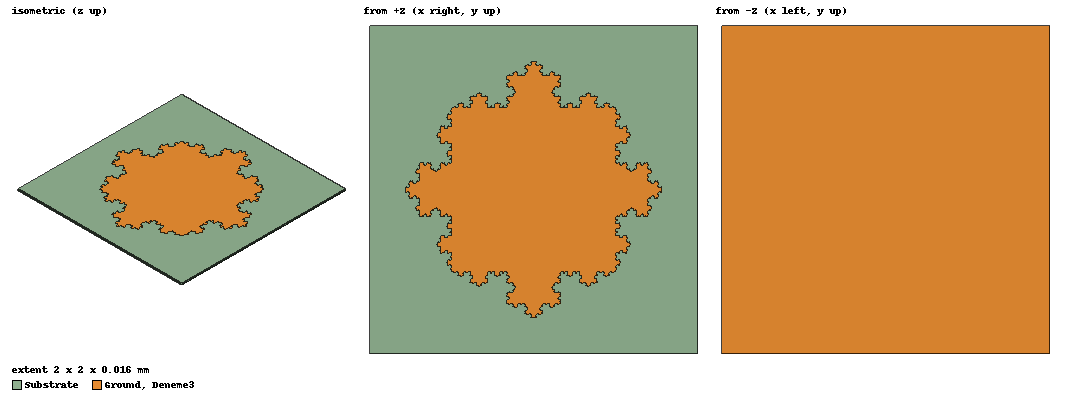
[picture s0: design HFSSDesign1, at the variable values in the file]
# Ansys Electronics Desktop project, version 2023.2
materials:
  vacuum: permittivity=1
  air: permittivity=1.0006 permeability=1.0000004
  FR4_epoxy: permittivity=4.4 dielectric_loss_tangent=0.02

design HFSSDesign1 (HFSS, HFSS Terminal Network, model units mm)
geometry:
  Deneme = polyline(z=0mm, xy in mm: (0, 0) (0.012345679, 0) (0.018518519, 0.010691672) (0.024691358, 0) (0.037037037, 0) (0.043209877, 0.010691672) (0.037037037, 0.021383343) (0.049382716, 0.021383343) (0.055555556, 0.032075015) (0.061728395, 0.021383343) (0.074074074, 0.021383343) (0.067901235, 0.010691672) (0.074074074, 0) (0.086419753, 0) (0.092592593, 0.010691672) (0.098765432, 0) (0.11111111, 0) (0.11728395, 0.010691672) (0.11111111, 0.021383343) (0.12345679, 0.021383343) (0.12962963, 0.032075015) (0.12345679, 0.042766687) (0.11111111, 0.042766687) (0.11728395, 0.053458358) (0.11111111, 0.06415003) (0.12345679, 0.06415003) (0.12962963, 0.074841702) (0.13580247, 0.06415003) (0.14814815, 0.06415003) (0.15432099, 0.074841702) (0.14814815, 0.085533373) (0.16049383, 0.085533373) (0.16666667, 0.096225045) (0.17283951, 0.085533373) (0.18518519, 0.085533373) (0.17901235, 0.074841702) (0.18518519, 0.06415003) (0.19753086, 0.06415003) (0.2037037, 0.074841702) (0.20987654, 0.06415003) (0.22222222, 0.06415003) (0.21604938, 0.053458358) (0.22222222, 0.042766687) (0.20987654, 0.042766687) (0.2037037, 0.032075015) (0.20987654, 0.021383343) (0.22222222, 0.021383343) (0.21604938, 0.010691672) (0.22222222, 0) (0.2345679, 0) (0.24074074, 0.010691672) (0.24691358, 0) (0.25925926, 0) (0.2654321, 0.010691672) (0.25925926, 0.021383343) (0.27160494, 0.021383343) (0.27777778, 0.032075015) (0.28395062, 0.021383343) (0.2962963, 0.021383343) (0.29012346, 0.010691672) (0.2962963, 0) (0.30864198, 0) (0.31481481, 0.010691672) (0.32098765, 0) (0.33333333, 0) (0.33950617, 0.010691672) (0.33333333, 0.021383343) (0.34567901, 0.021383343) (0.35185185, 0.032075015) (0.34567901, 0.042766687) (0.33333333, 0.042766687) (0.33950617, 0.053458358) (0.33333333, 0.06415003) (0.34567901, 0.06415003) (0.35185185, 0.074841702) (0.35802469, 0.06415003) (0.37037037, 0.06415003) (0.37654321, 0.074841702) (0.37037037, 0.085533373) (0.38271605, 0.085533373) (0.38888889, 0.096225045) (0.38271605, 0.10691672) (0.37037037, 0.10691672) (0.37654321, 0.11760839) (0.37037037, 0.12830006) (0.35802469, 0.12830006) (0.35185185, 0.11760839) (0.34567901, 0.12830006) (0.33333333, 0.12830006) (0.33950617, 0.13899173) (0.33333333, 0.1496834) (0.34567901, 0.1496834) (0.35185185, 0.16037507) (0.34567901, 0.17106675) (0.33333333, 0.17106675) (0.33950617, 0.18175842) (0.33333333, 0.19245009) (0.34567901, 0.19245009) (0.35185185, 0.20314176) (0.35802469, 0.19245009) (0.37037037, 0.19245009) (0.37654321, 0.20314176) (0.37037037, 0.21383343) (0.38271605, 0.21383343) (0.38888889, 0.2245251) (0.39506173, 0.21383343) (0.40740741, 0.21383343) (0.40123457, 0.20314176) (0.40740741, 0.19245009) (0.41975309, 0.19245009) (0.42592593, 0.20314176) (0.43209877, 0.19245009) (0.44444444, 0.19245009) (0.45061728, 0.20314176) (0.44444444, 0.21383343) (0.45679012, 0.21383343) (0.46296296, 0.2245251) (0.45679012, 0.23521678) (0.44444444, 0.23521678) (0.45061728, 0.24590845) (0.44444444, 0.25660012) (0.45679012, 0.25660012) (0.46296296, 0.26729179) (0.4691358, 0.25660012) (0.48148148, 0.25660012) (0.48765432, 0.26729179) (0.48148148, 0.27798346) (0.49382716, 0.27798346) (0.5, 0.28867513) (0.50617284, 0.27798346) (0.51851852, 0.27798346) (0.51234568, 0.26729179) (0.51851852, 0.25660012) (0.5308642, 0.25660012) (0.53703704, 0.26729179) (0.54320988, 0.25660012) (0.55555556, 0.25660012) (0.54938272, 0.24590845) (0.55555556, 0.23521678) (0.54320988, 0.23521678) (0.53703704, 0.2245251) (0.54320988, 0.21383343) (0.55555556, 0.21383343) (0.54938272, 0.20314176) (0.55555556, 0.19245009) (0.56790123, 0.19245009) (0.57407407, 0.20314176) (0.58024691, 0.19245009) (0.59259259, 0.19245009) (0.59876543, 0.20314176) (0.59259259, 0.21383343) (0.60493827, 0.21383343) (0.61111111, 0.2245251) (0.61728395, 0.21383343) (0.62962963, 0.21383343) (0.62345679, 0.20314176) (0.62962963, 0.19245009) (0.64197531, 0.19245009) (0.64814815, 0.20314176) (0.65432099, 0.19245009) (0.66666667, 0.19245009) (0.66049383, 0.18175842) (0.66666667, 0.17106675) (0.65432099, 0.17106675) (0.64814815, 0.16037507) (0.65432099, 0.1496834) (0.66666667, 0.1496834) (0.66049383, 0.13899173) (0.66666667, 0.12830006) (0.65432099, 0.12830006) (0.64814815, 0.11760839) (0.64197531, 0.12830006) (0.62962963, 0.12830006) (0.62345679, 0.11760839) (0.62962963, 0.10691672) (0.61728395, 0.10691672) (0.61111111, 0.096225045) (0.61728395, 0.085533373) (0.62962963, 0.085533373) (0.62345679, 0.074841702) (0.62962963, 0.06415003) (0.64197531, 0.06415003) (0.64814815, 0.074841702) (0.65432099, 0.06415003) (0.66666667, 0.06415003) (0.66049383, 0.053458358) (0.66666667, 0.042766687) (0.65432099, 0.042766687) (0.64814815, 0.032075015) (0.65432099, 0.021383343) (0.66666667, 0.021383343) (0.66049383, 0.010691672) (0.66666667, 0) (0.67901235, 0) (0.68518519, 0.010691672) (0.69135802, 0) (0.7037037, 0) (0.70987654, 0.010691672) (0.7037037, 0.021383343) (0.71604938, 0.021383343) (0.72222222, 0.032075015) (0.72839506, 0.021383343) (0.74074074, 0.021383343) (0.7345679, 0.010691672) (0.74074074, 0) (0.75308642, 0) (0.75925926, 0.010691672) (0.7654321, 0) (0.77777778, 0) (0.78395062, 0.010691672) (0.77777778, 0.021383343) (0.79012346, 0.021383343) (0.7962963, 0.032075015) (0.79012346, 0.042766687) (0.77777778, 0.042766687) (0.78395062, 0.053458358) (0.77777778, 0.06415003) (0.79012346, 0.06415003) (0.7962963, 0.074841702) (0.80246914, 0.06415003) (0.81481481, 0.06415003) (0.82098765, 0.074841702) (0.81481481, 0.085533373) (0.82716049, 0.085533373) (0.83333333, 0.096225045) (0.83950617, 0.085533373) (0.85185185, 0.085533373) (0.84567901, 0.074841702) (0.85185185, 0.06415003) (0.86419753, 0.06415003) (0.87037037, 0.074841702) (0.87654321, 0.06415003) (0.88888889, 0.06415003) (0.88271605, 0.053458358) (0.88888889, 0.042766687) (0.87654321, 0.042766687) (0.87037037, 0.032075015) (0.87654321, 0.021383343) (0.88888889, 0.021383343) (0.88271605, 0.010691672) (0.88888889, 0) (0.90123457, 0) (0.90740741, 0.010691672) (0.91358025, 0) (0.92592593, 0) (0.93209877, 0.010691672) (0.92592593, 0.021383343) (0.9382716, 0.021383343) (0.94444444, 0.032075015) (0.95061728, 0.021383343) (0.96296296, 0.021383343) (0.95679012, 0.010691672) (0.96296296, 0) (0.97530864, 0) (0.98148148, 0.010691672) (0.98765432, 0) (1, 0))
  Deneme.move(-0.5mm, 0.5mm, 0mm)
  Deneme1 = polyline(z=0mm, xy in mm: (0, 0) (0.012345679, 0) (0.018518519, 0.010691672) (0.024691358, 0) (0.037037037, 0) (0.043209877, 0.010691672) (0.037037037, 0.021383343) (0.049382716, 0.021383343) (0.055555556, 0.032075015) (0.061728395, 0.021383343) (0.074074074, 0.021383343) (0.067901235, 0.010691672) (0.074074074, 0) (0.086419753, 0) (0.092592593, 0.010691672) (0.098765432, 0) (0.11111111, 0) (0.11728395, 0.010691672) (0.11111111, 0.021383343) (0.12345679, 0.021383343) (0.12962963, 0.032075015) (0.12345679, 0.042766687) (0.11111111, 0.042766687) (0.11728395, 0.053458358) (0.11111111, 0.06415003) (0.12345679, 0.06415003) (0.12962963, 0.074841702) (0.13580247, 0.06415003) (0.14814815, 0.06415003) (0.15432099, 0.074841702) (0.14814815, 0.085533373) (0.16049383, 0.085533373) (0.16666667, 0.096225045) (0.17283951, 0.085533373) (0.18518519, 0.085533373) (0.17901235, 0.074841702) (0.18518519, 0.06415003) (0.19753086, 0.06415003) (0.2037037, 0.074841702) (0.20987654, 0.06415003) (0.22222222, 0.06415003) (0.21604938, 0.053458358) (0.22222222, 0.042766687) (0.20987654, 0.042766687) (0.2037037, 0.032075015) (0.20987654, 0.021383343) (0.22222222, 0.021383343) (0.21604938, 0.010691672) (0.22222222, 0) (0.2345679, 0) (0.24074074, 0.010691672) (0.24691358, 0) (0.25925926, 0) (0.2654321, 0.010691672) (0.25925926, 0.021383343) (0.27160494, 0.021383343) (0.27777778, 0.032075015) (0.28395062, 0.021383343) (0.2962963, 0.021383343) (0.29012346, 0.010691672) (0.2962963, 0) (0.30864198, 0) (0.31481481, 0.010691672) (0.32098765, 0) (0.33333333, 0) (0.33950617, 0.010691672) (0.33333333, 0.021383343) (0.34567901, 0.021383343) (0.35185185, 0.032075015) (0.34567901, 0.042766687) (0.33333333, 0.042766687) (0.33950617, 0.053458358) (0.33333333, 0.06415003) (0.34567901, 0.06415003) (0.35185185, 0.074841702) (0.35802469, 0.06415003) (0.37037037, 0.06415003) (0.37654321, 0.074841702) (0.37037037, 0.085533373) (0.38271605, 0.085533373) (0.38888889, 0.096225045) (0.38271605, 0.10691672) (0.37037037, 0.10691672) (0.37654321, 0.11760839) (0.37037037, 0.12830006) (0.35802469, 0.12830006) (0.35185185, 0.11760839) (0.34567901, 0.12830006) (0.33333333, 0.12830006) (0.33950617, 0.13899173) (0.33333333, 0.1496834) (0.34567901, 0.1496834) (0.35185185, 0.16037507) (0.34567901, 0.17106675) (0.33333333, 0.17106675) (0.33950617, 0.18175842) (0.33333333, 0.19245009) (0.34567901, 0.19245009) (0.35185185, 0.20314176) (0.35802469, 0.19245009) (0.37037037, 0.19245009) (0.37654321, 0.20314176) (0.37037037, 0.21383343) (0.38271605, 0.21383343) (0.38888889, 0.2245251) (0.39506173, 0.21383343) (0.40740741, 0.21383343) (0.40123457, 0.20314176) (0.40740741, 0.19245009) (0.41975309, 0.19245009) (0.42592593, 0.20314176) (0.43209877, 0.19245009) (0.44444444, 0.19245009) (0.45061728, 0.20314176) (0.44444444, 0.21383343) (0.45679012, 0.21383343) (0.46296296, 0.2245251) (0.45679012, 0.23521678) (0.44444444, 0.23521678) (0.45061728, 0.24590845) (0.44444444, 0.25660012) (0.45679012, 0.25660012) (0.46296296, 0.26729179) (0.4691358, 0.25660012) (0.48148148, 0.25660012) (0.48765432, 0.26729179) (0.48148148, 0.27798346) (0.49382716, 0.27798346) (0.5, 0.28867513) (0.50617284, 0.27798346) (0.51851852, 0.27798346) (0.51234568, 0.26729179) (0.51851852, 0.25660012) (0.5308642, 0.25660012) (0.53703704, 0.26729179) (0.54320988, 0.25660012) (0.55555556, 0.25660012) (0.54938272, 0.24590845) (0.55555556, 0.23521678) (0.54320988, 0.23521678) (0.53703704, 0.2245251) (0.54320988, 0.21383343) (0.55555556, 0.21383343) (0.54938272, 0.20314176) (0.55555556, 0.19245009) (0.56790123, 0.19245009) (0.57407407, 0.20314176) (0.58024691, 0.19245009) (0.59259259, 0.19245009) (0.59876543, 0.20314176) (0.59259259, 0.21383343) (0.60493827, 0.21383343) (0.61111111, 0.2245251) (0.61728395, 0.21383343) (0.62962963, 0.21383343) (0.62345679, 0.20314176) (0.62962963, 0.19245009) (0.64197531, 0.19245009) (0.64814815, 0.20314176) (0.65432099, 0.19245009) (0.66666667, 0.19245009) (0.66049383, 0.18175842) (0.66666667, 0.17106675) (0.65432099, 0.17106675) (0.64814815, 0.16037507) (0.65432099, 0.1496834) (0.66666667, 0.1496834) (0.66049383, 0.13899173) (0.66666667, 0.12830006) (0.65432099, 0.12830006) (0.64814815, 0.11760839) (0.64197531, 0.12830006) (0.62962963, 0.12830006) (0.62345679, 0.11760839) (0.62962963, 0.10691672) (0.61728395, 0.10691672) (0.61111111, 0.096225045) (0.61728395, 0.085533373) (0.62962963, 0.085533373) (0.62345679, 0.074841702) (0.62962963, 0.06415003) (0.64197531, 0.06415003) (0.64814815, 0.074841702) (0.65432099, 0.06415003) (0.66666667, 0.06415003) (0.66049383, 0.053458358) (0.66666667, 0.042766687) (0.65432099, 0.042766687) (0.64814815, 0.032075015) (0.65432099, 0.021383343) (0.66666667, 0.021383343) (0.66049383, 0.010691672) (0.66666667, 0) (0.67901235, 0) (0.68518519, 0.010691672) (0.69135802, 0) (0.7037037, 0) (0.70987654, 0.010691672) (0.7037037, 0.021383343) (0.71604938, 0.021383343) (0.72222222, 0.032075015) (0.72839506, 0.021383343) (0.74074074, 0.021383343) (0.7345679, 0.010691672) (0.74074074, 0) (0.75308642, 0) (0.75925926, 0.010691672) (0.7654321, 0) (0.77777778, 0) (0.78395062, 0.010691672) (0.77777778, 0.021383343) (0.79012346, 0.021383343) (0.7962963, 0.032075015) (0.79012346, 0.042766687) (0.77777778, 0.042766687) (0.78395062, 0.053458358) (0.77777778, 0.06415003) (0.79012346, 0.06415003) (0.7962963, 0.074841702) (0.80246914, 0.06415003) (0.81481481, 0.06415003) (0.82098765, 0.074841702) (0.81481481, 0.085533373) (0.82716049, 0.085533373) (0.83333333, 0.096225045) (0.83950617, 0.085533373) (0.85185185, 0.085533373) (0.84567901, 0.074841702) (0.85185185, 0.06415003) (0.86419753, 0.06415003) (0.87037037, 0.074841702) (0.87654321, 0.06415003) (0.88888889, 0.06415003) (0.88271605, 0.053458358) (0.88888889, 0.042766687) (0.87654321, 0.042766687) (0.87037037, 0.032075015) (0.87654321, 0.021383343) (0.88888889, 0.021383343) (0.88271605, 0.010691672) (0.88888889, 0) (0.90123457, 0) (0.90740741, 0.010691672) (0.91358025, 0) (0.92592593, 0) (0.93209877, 0.010691672) (0.92592593, 0.021383343) (0.9382716, 0.021383343) (0.94444444, 0.032075015) (0.95061728, 0.021383343) (0.96296296, 0.021383343) (0.95679012, 0.010691672) (0.96296296, 0) (0.97530864, 0) (0.98148148, 0.010691672) (0.98765432, 0) (1, 0))
  Deneme1.move(-0.5mm, 0.5mm, 0mm)
  Deneme1.rotate(axis=Z, angle=90deg)
  Deneme2 = polyline(z=0mm, xy in mm: (0, 0) (0.012345679, 0) (0.018518519, 0.010691672) (0.024691358, 0) (0.037037037, 0) (0.043209877, 0.010691672) (0.037037037, 0.021383343) (0.049382716, 0.021383343) (0.055555556, 0.032075015) (0.061728395, 0.021383343) (0.074074074, 0.021383343) (0.067901235, 0.010691672) (0.074074074, 0) (0.086419753, 0) (0.092592593, 0.010691672) (0.098765432, 0) (0.11111111, 0) (0.11728395, 0.010691672) (0.11111111, 0.021383343) (0.12345679, 0.021383343) (0.12962963, 0.032075015) (0.12345679, 0.042766687) (0.11111111, 0.042766687) (0.11728395, 0.053458358) (0.11111111, 0.06415003) (0.12345679, 0.06415003) (0.12962963, 0.074841702) (0.13580247, 0.06415003) (0.14814815, 0.06415003) (0.15432099, 0.074841702) (0.14814815, 0.085533373) (0.16049383, 0.085533373) (0.16666667, 0.096225045) (0.17283951, 0.085533373) (0.18518519, 0.085533373) (0.17901235, 0.074841702) (0.18518519, 0.06415003) (0.19753086, 0.06415003) (0.2037037, 0.074841702) (0.20987654, 0.06415003) (0.22222222, 0.06415003) (0.21604938, 0.053458358) (0.22222222, 0.042766687) (0.20987654, 0.042766687) (0.2037037, 0.032075015) (0.20987654, 0.021383343) (0.22222222, 0.021383343) (0.21604938, 0.010691672) (0.22222222, 0) (0.2345679, 0) (0.24074074, 0.010691672) (0.24691358, 0) (0.25925926, 0) (0.2654321, 0.010691672) (0.25925926, 0.021383343) (0.27160494, 0.021383343) (0.27777778, 0.032075015) (0.28395062, 0.021383343) (0.2962963, 0.021383343) (0.29012346, 0.010691672) (0.2962963, 0) (0.30864198, 0) (0.31481481, 0.010691672) (0.32098765, 0) (0.33333333, 0) (0.33950617, 0.010691672) (0.33333333, 0.021383343) (0.34567901, 0.021383343) (0.35185185, 0.032075015) (0.34567901, 0.042766687) (0.33333333, 0.042766687) (0.33950617, 0.053458358) (0.33333333, 0.06415003) (0.34567901, 0.06415003) (0.35185185, 0.074841702) (0.35802469, 0.06415003) (0.37037037, 0.06415003) (0.37654321, 0.074841702) (0.37037037, 0.085533373) (0.38271605, 0.085533373) (0.38888889, 0.096225045) (0.38271605, 0.10691672) (0.37037037, 0.10691672) (0.37654321, 0.11760839) (0.37037037, 0.12830006) (0.35802469, 0.12830006) (0.35185185, 0.11760839) (0.34567901, 0.12830006) (0.33333333, 0.12830006) (0.33950617, 0.13899173) (0.33333333, 0.1496834) (0.34567901, 0.1496834) (0.35185185, 0.16037507) (0.34567901, 0.17106675) (0.33333333, 0.17106675) (0.33950617, 0.18175842) (0.33333333, 0.19245009) (0.34567901, 0.19245009) (0.35185185, 0.20314176) (0.35802469, 0.19245009) (0.37037037, 0.19245009) (0.37654321, 0.20314176) (0.37037037, 0.21383343) (0.38271605, 0.21383343) (0.38888889, 0.2245251) (0.39506173, 0.21383343) (0.40740741, 0.21383343) (0.40123457, 0.20314176) (0.40740741, 0.19245009) (0.41975309, 0.19245009) (0.42592593, 0.20314176) (0.43209877, 0.19245009) (0.44444444, 0.19245009) (0.45061728, 0.20314176) (0.44444444, 0.21383343) (0.45679012, 0.21383343) (0.46296296, 0.2245251) (0.45679012, 0.23521678) (0.44444444, 0.23521678) (0.45061728, 0.24590845) (0.44444444, 0.25660012) (0.45679012, 0.25660012) (0.46296296, 0.26729179) (0.4691358, 0.25660012) (0.48148148, 0.25660012) (0.48765432, 0.26729179) (0.48148148, 0.27798346) (0.49382716, 0.27798346) (0.5, 0.28867513) (0.50617284, 0.27798346) (0.51851852, 0.27798346) (0.51234568, 0.26729179) (0.51851852, 0.25660012) (0.5308642, 0.25660012) (0.53703704, 0.26729179) (0.54320988, 0.25660012) (0.55555556, 0.25660012) (0.54938272, 0.24590845) (0.55555556, 0.23521678) (0.54320988, 0.23521678) (0.53703704, 0.2245251) (0.54320988, 0.21383343) (0.55555556, 0.21383343) (0.54938272, 0.20314176) (0.55555556, 0.19245009) (0.56790123, 0.19245009) (0.57407407, 0.20314176) (0.58024691, 0.19245009) (0.59259259, 0.19245009) (0.59876543, 0.20314176) (0.59259259, 0.21383343) (0.60493827, 0.21383343) (0.61111111, 0.2245251) (0.61728395, 0.21383343) (0.62962963, 0.21383343) (0.62345679, 0.20314176) (0.62962963, 0.19245009) (0.64197531, 0.19245009) (0.64814815, 0.20314176) (0.65432099, 0.19245009) (0.66666667, 0.19245009) (0.66049383, 0.18175842) (0.66666667, 0.17106675) (0.65432099, 0.17106675) (0.64814815, 0.16037507) (0.65432099, 0.1496834) (0.66666667, 0.1496834) (0.66049383, 0.13899173) (0.66666667, 0.12830006) (0.65432099, 0.12830006) (0.64814815, 0.11760839) (0.64197531, 0.12830006) (0.62962963, 0.12830006) (0.62345679, 0.11760839) (0.62962963, 0.10691672) (0.61728395, 0.10691672) (0.61111111, 0.096225045) (0.61728395, 0.085533373) (0.62962963, 0.085533373) (0.62345679, 0.074841702) (0.62962963, 0.06415003) (0.64197531, 0.06415003) (0.64814815, 0.074841702) (0.65432099, 0.06415003) (0.66666667, 0.06415003) (0.66049383, 0.053458358) (0.66666667, 0.042766687) (0.65432099, 0.042766687) (0.64814815, 0.032075015) (0.65432099, 0.021383343) (0.66666667, 0.021383343) (0.66049383, 0.010691672) (0.66666667, 0) (0.67901235, 0) (0.68518519, 0.010691672) (0.69135802, 0) (0.7037037, 0) (0.70987654, 0.010691672) (0.7037037, 0.021383343) (0.71604938, 0.021383343) (0.72222222, 0.032075015) (0.72839506, 0.021383343) (0.74074074, 0.021383343) (0.7345679, 0.010691672) (0.74074074, 0) (0.75308642, 0) (0.75925926, 0.010691672) (0.7654321, 0) (0.77777778, 0) (0.78395062, 0.010691672) (0.77777778, 0.021383343) (0.79012346, 0.021383343) (0.7962963, 0.032075015) (0.79012346, 0.042766687) (0.77777778, 0.042766687) (0.78395062, 0.053458358) (0.77777778, 0.06415003) (0.79012346, 0.06415003) (0.7962963, 0.074841702) (0.80246914, 0.06415003) (0.81481481, 0.06415003) (0.82098765, 0.074841702) (0.81481481, 0.085533373) (0.82716049, 0.085533373) (0.83333333, 0.096225045) (0.83950617, 0.085533373) (0.85185185, 0.085533373) (0.84567901, 0.074841702) (0.85185185, 0.06415003) (0.86419753, 0.06415003) (0.87037037, 0.074841702) (0.87654321, 0.06415003) (0.88888889, 0.06415003) (0.88271605, 0.053458358) (0.88888889, 0.042766687) (0.87654321, 0.042766687) (0.87037037, 0.032075015) (0.87654321, 0.021383343) (0.88888889, 0.021383343) (0.88271605, 0.010691672) (0.88888889, 0) (0.90123457, 0) (0.90740741, 0.010691672) (0.91358025, 0) (0.92592593, 0) (0.93209877, 0.010691672) (0.92592593, 0.021383343) (0.9382716, 0.021383343) (0.94444444, 0.032075015) (0.95061728, 0.021383343) (0.96296296, 0.021383343) (0.95679012, 0.010691672) (0.96296296, 0) (0.97530864, 0) (0.98148148, 0.010691672) (0.98765432, 0) (1, 0))
  Deneme2.move(-0.5mm, 0.5mm, 0mm)
  Deneme2.rotate(axis=Z, angle=90deg)
  Deneme2.rotate(axis=Z, angle=90deg)
  Deneme3 = polyline(z=0mm, xy in mm: (0, 0) (0.012345679, 0) (0.018518519, 0.010691672) (0.024691358, 0) (0.037037037, 0) (0.043209877, 0.010691672) (0.037037037, 0.021383343) (0.049382716, 0.021383343) (0.055555556, 0.032075015) (0.061728395, 0.021383343) (0.074074074, 0.021383343) (0.067901235, 0.010691672) (0.074074074, 0) (0.086419753, 0) (0.092592593, 0.010691672) (0.098765432, 0) (0.11111111, 0) (0.11728395, 0.010691672) (0.11111111, 0.021383343) (0.12345679, 0.021383343) (0.12962963, 0.032075015) (0.12345679, 0.042766687) (0.11111111, 0.042766687) (0.11728395, 0.053458358) (0.11111111, 0.06415003) (0.12345679, 0.06415003) (0.12962963, 0.074841702) (0.13580247, 0.06415003) (0.14814815, 0.06415003) (0.15432099, 0.074841702) (0.14814815, 0.085533373) (0.16049383, 0.085533373) (0.16666667, 0.096225045) (0.17283951, 0.085533373) (0.18518519, 0.085533373) (0.17901235, 0.074841702) (0.18518519, 0.06415003) (0.19753086, 0.06415003) (0.2037037, 0.074841702) (0.20987654, 0.06415003) (0.22222222, 0.06415003) (0.21604938, 0.053458358) (0.22222222, 0.042766687) (0.20987654, 0.042766687) (0.2037037, 0.032075015) (0.20987654, 0.021383343) (0.22222222, 0.021383343) (0.21604938, 0.010691672) (0.22222222, 0) (0.2345679, 0) (0.24074074, 0.010691672) (0.24691358, 0) (0.25925926, 0) (0.2654321, 0.010691672) (0.25925926, 0.021383343) (0.27160494, 0.021383343) (0.27777778, 0.032075015) (0.28395062, 0.021383343) (0.2962963, 0.021383343) (0.29012346, 0.010691672) (0.2962963, 0) (0.30864198, 0) (0.31481481, 0.010691672) (0.32098765, 0) (0.33333333, 0) (0.33950617, 0.010691672) (0.33333333, 0.021383343) (0.34567901, 0.021383343) (0.35185185, 0.032075015) (0.34567901, 0.042766687) (0.33333333, 0.042766687) (0.33950617, 0.053458358) (0.33333333, 0.06415003) (0.34567901, 0.06415003) (0.35185185, 0.074841702) (0.35802469, 0.06415003) (0.37037037, 0.06415003) (0.37654321, 0.074841702) (0.37037037, 0.085533373) (0.38271605, 0.085533373) (0.38888889, 0.096225045) (0.38271605, 0.10691672) (0.37037037, 0.10691672) (0.37654321, 0.11760839) (0.37037037, 0.12830006) (0.35802469, 0.12830006) (0.35185185, 0.11760839) (0.34567901, 0.12830006) (0.33333333, 0.12830006) (0.33950617, 0.13899173) (0.33333333, 0.1496834) (0.34567901, 0.1496834) (0.35185185, 0.16037507) (0.34567901, 0.17106675) (0.33333333, 0.17106675) (0.33950617, 0.18175842) (0.33333333, 0.19245009) (0.34567901, 0.19245009) (0.35185185, 0.20314176) (0.35802469, 0.19245009) (0.37037037, 0.19245009) (0.37654321, 0.20314176) (0.37037037, 0.21383343) (0.38271605, 0.21383343) (0.38888889, 0.2245251) (0.39506173, 0.21383343) (0.40740741, 0.21383343) (0.40123457, 0.20314176) (0.40740741, 0.19245009) (0.41975309, 0.19245009) (0.42592593, 0.20314176) (0.43209877, 0.19245009) (0.44444444, 0.19245009) (0.45061728, 0.20314176) (0.44444444, 0.21383343) (0.45679012, 0.21383343) (0.46296296, 0.2245251) (0.45679012, 0.23521678) (0.44444444, 0.23521678) (0.45061728, 0.24590845) (0.44444444, 0.25660012) (0.45679012, 0.25660012) (0.46296296, 0.26729179) (0.4691358, 0.25660012) (0.48148148, 0.25660012) (0.48765432, 0.26729179) (0.48148148, 0.27798346) (0.49382716, 0.27798346) (0.5, 0.28867513) (0.50617284, 0.27798346) (0.51851852, 0.27798346) (0.51234568, 0.26729179) (0.51851852, 0.25660012) (0.5308642, 0.25660012) (0.53703704, 0.26729179) (0.54320988, 0.25660012) (0.55555556, 0.25660012) (0.54938272, 0.24590845) (0.55555556, 0.23521678) (0.54320988, 0.23521678) (0.53703704, 0.2245251) (0.54320988, 0.21383343) (0.55555556, 0.21383343) (0.54938272, 0.20314176) (0.55555556, 0.19245009) (0.56790123, 0.19245009) (0.57407407, 0.20314176) (0.58024691, 0.19245009) (0.59259259, 0.19245009) (0.59876543, 0.20314176) (0.59259259, 0.21383343) (0.60493827, 0.21383343) (0.61111111, 0.2245251) (0.61728395, 0.21383343) (0.62962963, 0.21383343) (0.62345679, 0.20314176) (0.62962963, 0.19245009) (0.64197531, 0.19245009) (0.64814815, 0.20314176) (0.65432099, 0.19245009) (0.66666667, 0.19245009) (0.66049383, 0.18175842) (0.66666667, 0.17106675) (0.65432099, 0.17106675) (0.64814815, 0.16037507) (0.65432099, 0.1496834) (0.66666667, 0.1496834) (0.66049383, 0.13899173) (0.66666667, 0.12830006) (0.65432099, 0.12830006) (0.64814815, 0.11760839) (0.64197531, 0.12830006) (0.62962963, 0.12830006) (0.62345679, 0.11760839) (0.62962963, 0.10691672) (0.61728395, 0.10691672) (0.61111111, 0.096225045) (0.61728395, 0.085533373) (0.62962963, 0.085533373) (0.62345679, 0.074841702) (0.62962963, 0.06415003) (0.64197531, 0.06415003) (0.64814815, 0.074841702) (0.65432099, 0.06415003) (0.66666667, 0.06415003) (0.66049383, 0.053458358) (0.66666667, 0.042766687) (0.65432099, 0.042766687) (0.64814815, 0.032075015) (0.65432099, 0.021383343) (0.66666667, 0.021383343) (0.66049383, 0.010691672) (0.66666667, 0) (0.67901235, 0) (0.68518519, 0.010691672) (0.69135802, 0) (0.7037037, 0) (0.70987654, 0.010691672) (0.7037037, 0.021383343) (0.71604938, 0.021383343) (0.72222222, 0.032075015) (0.72839506, 0.021383343) (0.74074074, 0.021383343) (0.7345679, 0.010691672) (0.74074074, 0) (0.75308642, 0) (0.75925926, 0.010691672) (0.7654321, 0) (0.77777778, 0) (0.78395062, 0.010691672) (0.77777778, 0.021383343) (0.79012346, 0.021383343) (0.7962963, 0.032075015) (0.79012346, 0.042766687) (0.77777778, 0.042766687) (0.78395062, 0.053458358) (0.77777778, 0.06415003) (0.79012346, 0.06415003) (0.7962963, 0.074841702) (0.80246914, 0.06415003) (0.81481481, 0.06415003) (0.82098765, 0.074841702) (0.81481481, 0.085533373) (0.82716049, 0.085533373) (0.83333333, 0.096225045) (0.83950617, 0.085533373) (0.85185185, 0.085533373) (0.84567901, 0.074841702) (0.85185185, 0.06415003) (0.86419753, 0.06415003) (0.87037037, 0.074841702) (0.87654321, 0.06415003) (0.88888889, 0.06415003) (0.88271605, 0.053458358) (0.88888889, 0.042766687) (0.87654321, 0.042766687) (0.87037037, 0.032075015) (0.87654321, 0.021383343) (0.88888889, 0.021383343) (0.88271605, 0.010691672) (0.88888889, 0) (0.90123457, 0) (0.90740741, 0.010691672) (0.91358025, 0) (0.92592593, 0) (0.93209877, 0.010691672) (0.92592593, 0.021383343) (0.9382716, 0.021383343) (0.94444444, 0.032075015) (0.95061728, 0.021383343) (0.96296296, 0.021383343) (0.95679012, 0.010691672) (0.96296296, 0) (0.97530864, 0) (0.98148148, 0.010691672) (0.98765432, 0) (1, 0))
  Deneme3.move(-0.5mm, 0.5mm, 0mm)
  Deneme3.rotate(axis=Z, angle=90deg)
  Deneme3.rotate(axis=Z, angle=90deg)
  Deneme3.rotate(axis=Z, angle=90deg)
  Deneme3.unite(Deneme2, Deneme1, Deneme)
  Deneme3.cover_lines()
  Substrate [FR4_epoxy] = box(corner=(-1mm, -1mm, -0.016mm), size=(2mm, 2mm, 0.016mm))
  Ground = rectangle(corner=(-1mm, -1mm, -0.016mm), x_size=2mm, y_size=2mm)
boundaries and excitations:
  PerfE1: Perfect E Objects=Deneme3
  PerfE2: Perfect E Objects=Ground
